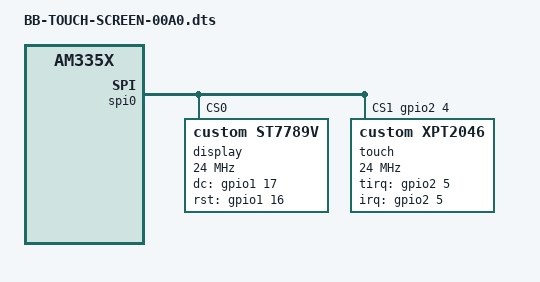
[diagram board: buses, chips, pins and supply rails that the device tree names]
/dts-v1/;
/plugin/;
#include "dt-bindings/interrupt-controller/irq.h"

/ {
    compatible = "ti,am335x-bone-black";
    /* Fragment 0: Free up the pins used by the universal cape from the pinmux helpers. */
    fragment@0 {
        target = <&ocp>;
        __overlay__ {
            P9_17_pinmux { status = "disabled"; };	/* P9_17 (A16) spi0_cs0.spi0_cs0 */
            P9_18_pinmux { status = "disabled"; };	/* P9_18 (B16) spi0_d1.spi0_d1 */
            P9_21_pinmux { status = "disabled"; };	/* P9_21 (B17) spi0_d0.spi0_d0 */
            P9_22_pinmux { status = "disabled"; };	/* P9_22 (A17) spi0_sclk.spi0_sclk */
            P8_10_pinmux { status = "disabled"; };  /* P8_10 (T17) spi0_sclk.spi0_sclk */
        };
    };
    /* Fragment 1: configure the physical pin of SPI0 */
    /* one pin can have multiple functions */
    fragment@1 {
        target = <&am33xx_pinmux>;
        __overlay__ {
            my_spi0_pins: pinmux_my_spi0_pins {
                pinctrl-single,pins = <
                    0x150 0x30 /* P9_22: SCLK | Mode 0 (Output) */
                    0x154 0x30 /* P9_21: MISO | Mode 0 (Input)  */
                    0x158 0x10 /* P9_18: MOSI | Mode 0 (Output) */
                    0x15c 0x10 /* P9_17: CS0  | Mode 0 (Output) */
                    0x098 0x17 /* P8 10 gpio2_4.spi0_cs1 OUTPUT_PULLUP | MODE7 */
                >;
            };
        };
    };

    /* Fragment 2: attach the display driver to the SPI hardware block */
    fragment@2 {
        target = <&spi0>;
        __overlay__ {
            status = "okay"; /* Turn the SPI0 controller ON */
            pinctrl-names = "default";
            pinctrl-0 = <&my_spi0_pins>; /* Link the pins we configured above */
            /* FIXES THE WARNINGS: Tells the compiler how to read child addresses */
            #address-cells = <1>;
            #size-cells = <0>;
            cs-gpios = <0>, <&gpio2 4 0>;
            /* Describe the ST7789 display controller sitting on this bus */
            display@0 {
                compatible = "custom,st7789v";  /* Matches your kernel driver name */
                reg = <0>;                      /* Chip Select 0 */
                spi-max-frequency = <24000000>; /* Max SPI speed (24MHz) */
                /* Define custom GPIO hooks for the driver */
                dc-gpios    = <&gpio1 17 0>; /* P9.23 - Data/Command Pin */
                rst-gpios   = <&gpio1 16 0>; /* P9.24 - Reset Pin */
            };

            touch@1 {
                compatible = "custom,xpt2046";  /* Matches your kernel driver name */
                reg = <1>;                      /* Chip Select 0 */
                spi-max-frequency = <24000000>; /* Max SPI speed (24MHz) */
                tirq-gpios = <&gpio2 5 0>;
                interrupt-parent = <&gpio2>;
                interrupts = <5 IRQ_TYPE_EDGE_FALLING>;
            };
        };
    };
};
